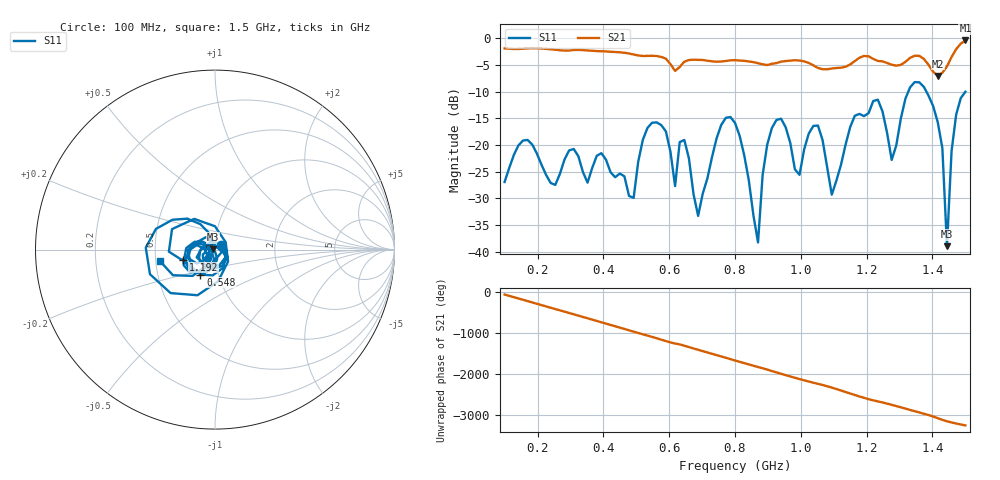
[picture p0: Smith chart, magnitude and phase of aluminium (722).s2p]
! NanoVNA-App
! Date: 2025-09-25 15:00:54
! Start: 100MHz Stop: 1,5GHz Points: 101
! S-Parameter data: F S11 S21 S12 S22
# Hz S RI R 50
!  Frequency  S11_Real  S11_Imag  S21_Real  S21_Imag  S12_Real  S12_Imag  S22_Real  S22_Imag
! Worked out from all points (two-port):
!   101 points, 100 MHz to 1.5 GHz, reference 50 ohm
!   highest |S21| = -0.43 dB at 1.5 GHz (marker M1); lowest = -7.1 dB at 1.416 GHz (marker M2)
!   |S21| within 3 dB of the highest: start of sweep to 568.8 MHz; 1.459 GHz to end of sweep (the widest 2 of 4)
!   lowest |S11| = -39.0 dB at 1.444 GHz (marker M3), VSWR 1.02, Z = 48.9 + j0.258 ohm
!   |S11| at or under -10 dB: start of sweep to 1.327 GHz; 1.381 GHz to end of sweep
!   S12 and S22 are empty: the file has one direction only
!   S11 on the Smith chart (normalised r, x): 100 MHz: 1.07, +0.06; 548 MHz: 0.82, -0.23; 1.192 GHz: 0.69, -0.08; 1.5 GHz: 0.52, -0.07
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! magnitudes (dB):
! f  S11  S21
! 100 MHz  -27.0  -1.9
! 156 MHz  -19.2  -2.0
! 338 MHz  -25.1  -2.2
! 492 MHz  -29.9  -3.1
! 548 MHz  -15.9  -3.3
! 576 MHz  -16.3  -3.5
! 618 MHz  -27.7  -6.1
! 646 MHz  -19.1  -4.4
! 688 MHz  -33.3  -4.1
! 800 MHz  -15.9  -4.1
! 870 MHz  -38.3  -4.7
! 912 MHz  -16.8  -4.8
! 996 MHz  -25.6  -4.2
! 1.038 GHz  -16.5  -5.1
! 1.094 GHz  -29.3  -5.7
! 1.192 GHz  -14.6  -3.3
! 1.276 GHz  -22.8  -5.0
! 1.346 GHz  -8.2  -3.3
! 1.416 GHz  -15.8  -7.1
! 1.444 GHz  -39.0  -5.3
! 1.458 GHz  -21.1  -3.5
! 1.5 GHz  -10.0  -0.4
